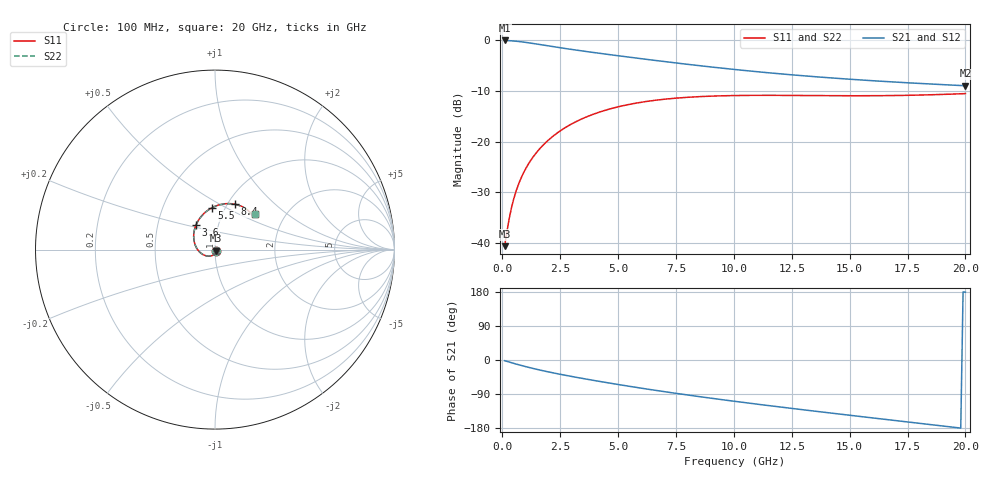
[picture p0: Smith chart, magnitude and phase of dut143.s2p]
! Touchstone file exported from HFSS 2024.1.0
!  File:  C:/UserFiles/LocalFiles/RDL_TSV_Batchsim/temp_RDL_TSV_143_1779430024.aedt
!  Generated:  02:23:06 PM May 22, 2026
!  Design:  RDL_TSV
!  Project:  temp_RDL_TSV_143_1779430024
!  Setup:  Setup1
!  Solution:  Sweep
! Variables:
!  dtsv = 12.59um
!  hbump = 3um
!  htsv = 94.54um
!  ldown = 153.92um
!  lrdl = 455.69um
!  p = 40
!  p1 = 55.07um
!  rhole = 10um
!  subl = 2284.52um
!  t = 450um
!  tdown = 4.96um
!  trdl = 4.81um
!  viad = 10um
!  wdown = 22.57um
!  wrdl = 24.38um
!  xbump = 18um
# GHz S MA R 50.000000
! Terminal data exported
! Port[1] = TM1_1_T1
! Port[2] = TM1_4_T1
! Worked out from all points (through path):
!   200 points, 100 MHz to 20 GHz, reference 50 ohm
!   highest |S21| = -0.07 dB at 100 MHz (marker M1); lowest = -9.0 dB at 20 GHz (marker M2)
!   group delay of S21, straight-line fit = 23.5 ps
!   lowest |S11| = -40.6 dB at 100 MHz (marker M3), VSWR 1.02, Z = 50.7 - j0.566 ohm
!   |S11| at or under -10 dB: start of sweep to end of sweep
!   |S22| runs from -40.6 to -10.6 dB; largest |S21 - S12| = 8.2e-15
!   S11 on the Smith chart (normalised r, x): 100 MHz: 1.01, -0.01; 3.6 GHz: 0.78, +0.22; 5.5 GHz: 0.87, +0.42; 8.4 GHz: 1.08, +0.59; 20 GHz: 1.41, +0.61
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0.1  0.009305 -36.8  0.9915 -1.9  0.9915 -1.9  0.009305 -36.8
! Gamma 0 0 0 0
! Port Impedance 50 0 50 0
0.3  0.01747 -77.9  0.9867 -5.5  0.9867 -5.5  0.01747 -77.8
0.4  0.02239 -90.1  0.9833 -7.3  0.9833 -7.3  0.0224 -90.1
0.5  0.02748 -100.2  0.9791 -9.0  0.9791 -9.0  0.02748 -100.2
0.6  0.03264 -108.9  0.9743 -10.7  0.9743 -10.7  0.03264 -108.9
0.8  0.04303 -123.9  0.9631 -14.1  0.9631 -14.1  0.04303 -123.9
1.1  0.0586 -142.8  0.943 -18.9  0.943 -18.9  0.05858 -142.8
1.6  0.08408 -168.6  0.9056 -26.2  0.9056 -26.2  0.08402 -168.6
2.1  0.1086 170.6  0.8683 -32.8  0.8683 -32.8  0.1085 170.7
2.7  0.1363 150.5  0.8271 -40.1  0.8271 -40.1  0.1361 150.6
3.5  0.1697 129.7  0.7785 -49.1  0.7785 -49.1  0.1694 129.7
3.6  0.1736 127.4  0.7729 -50.1  0.7729 -50.1  0.1733 127.5
4.5  0.205 109.9  0.7253 -59.6  0.7253 -59.6  0.2046 110.0
5.5  0.2327 94.8  0.6776 -69.6  0.6776 -69.6  0.2322 94.8
6.8  0.2582 79.7  0.6221 -81.8  0.6221 -81.8  0.2576 79.8
8.4  0.2763 66.2  0.5631 -95.7  0.5631 -95.7  0.2755 66.2
10.1  0.2841 56.1  0.5112 -109.5  0.5112 -109.5  0.2833 56.1
11.7  0.2853 49.6  0.4715 -121.8  0.4715 -121.8  0.2845 49.6
13.4  0.2838 45.2  0.4373 -134.3  0.4373 -134.3  0.283 45.3
15  0.2826 43.0  0.4113 -145.8  0.4113 -145.8  0.2818 43.0
16.7  0.2837 41.9  0.3887 -157.9  0.3887 -157.9  0.2829 41.9
20  0.2968 41.7  0.3548 178.9  0.3548 178.9  0.2961 41.7
